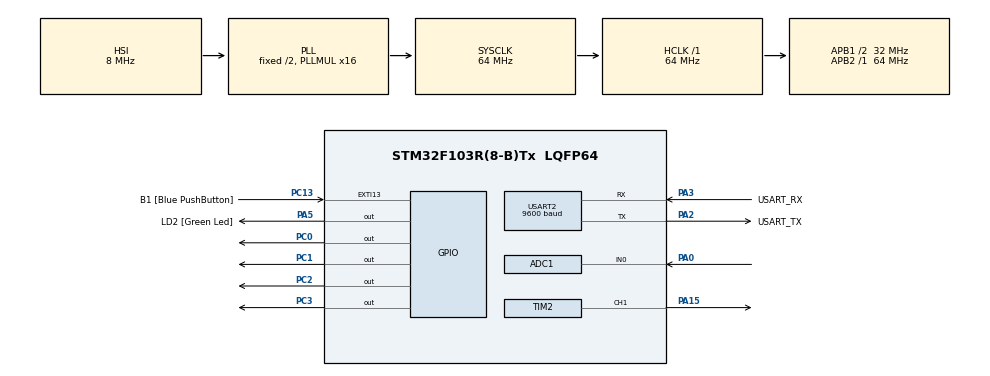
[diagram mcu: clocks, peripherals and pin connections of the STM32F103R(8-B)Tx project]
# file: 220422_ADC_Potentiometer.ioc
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ADC1.Channel-1\#ChannelRegularConversion=ADC_CHANNEL_0
ADC1.NbrOfConversionFlag=1
ADC1.Rank-1\#ChannelRegularConversion=1
ADC1.SamplingTime-1\#ChannelRegularConversion=ADC_SAMPLETIME_239CYCLES_5
ADC1.master=1
Mcu.Family=STM32F1
Mcu.Name=STM32F103R(8-B)Tx
Mcu.Package=LQFP64
NVIC.EXTI15_10_IRQn=true\:0\:0\:false\:false\:true\:true\:true\:true
NVIC.PriorityGroup=NVIC_PRIORITYGROUP_4
NVIC.TIM2_IRQn=true\:0\:0\:false\:false\:true\:true\:true\:true
PA0-WKUP.Signal=ADCx_IN0
PA13.GPIO_Label=TMS
PA13.Mode=Serial_Wire
PA13.Signal=SYS_JTMS-SWDIO
PA14.GPIO_Label=TCK
PA14.Mode=Serial_Wire
PA14.Signal=SYS_JTCK-SWCLK
PA15.Signal=S_TIM2_CH1_ETR
PA2.GPIO_Label=USART_TX
PA2.GPIO_Mode=GPIO_MODE_AF_PP
PA2.GPIO_PuPd=GPIO_NOPULL
PA2.GPIO_Speed=GPIO_SPEED_FREQ_LOW
PA2.Mode=Asynchronous
PA2.Signal=USART2_TX
PA3.GPIO_Label=USART_RX
PA3.GPIO_Mode=GPIO_MODE_AF_PP
PA3.GPIO_PuPd=GPIO_NOPULL
PA3.GPIO_Speed=GPIO_SPEED_FREQ_LOW
PA3.Mode=Asynchronous
PA3.Signal=USART2_RX
PA5.GPIO_Label=LD2 [Green Led]
PA5.GPIO_ModeDefaultOutputPP=GPIO_MODE_OUTPUT_PP
PA5.GPIO_PuPd=GPIO_NOPULL
PA5.GPIO_Speed=GPIO_SPEED_FREQ_LOW
PA5.Signal=GPIO_Output
PB3.GPIO_Label=SWO
PB3.Signal=SYS_JTDO-TRACESWO
PC0.Signal=GPIO_Output
PC1.Signal=GPIO_Output
PC13-TAMPER-RTC.GPIO_Label=B1 [Blue PushButton]
PC13-TAMPER-RTC.GPIO_PuPd=GPIO_NOPULL
PC13-TAMPER-RTC.Signal=GPXTI13
PC14-OSC32_IN.Mode=LSE-External-Oscillator
PC14-OSC32_IN.Signal=RCC_OSC32_IN
PC15-OSC32_OUT.Mode=LSE-External-Oscillator
PC15-OSC32_OUT.Signal=RCC_OSC32_OUT
PC2.Signal=GPIO_Output
PC3.Signal=GPIO_Output
PD0-OSC_IN.Mode=HSE-External-Clock-Source
PD0-OSC_IN.Signal=RCC_OSC_IN
PD1-OSC_OUT.Mode=HSE-External-Clock-Source
PD1-OSC_OUT.Signal=RCC_OSC_OUT
ProjectManager.HeapSize=0x200
ProjectManager.StackSize=0x400
ProjectManager.TargetToolchain=STM32CubeIDE
RCC.ADCPresc=RCC_ADCPCLK2_DIV8
RCC.AHBFreq_Value=64000000
RCC.APB1CLKDivider=RCC_HCLK_DIV2
RCC.APB1Freq_Value=32000000
RCC.APB1TimFreq_Value=64000000
RCC.APB2Freq_Value=64000000
RCC.APB2TimFreq_Value=64000000
RCC.HCLKFreq_Value=64000000
RCC.PLLMUL=RCC_PLL_MUL16
RCC.RTCClockSelection=RCC_RTCCLKSOURCE_LSE
RCC.SYSCLKFreq_VALUE=64000000
RCC.SYSCLKSource=RCC_SYSCLKSOURCE_PLLCLK
RCC.USBFreq_Value=64000000
SH.ADCx_IN0.0=ADC1_IN0,IN0
SH.S_TIM2_CH1_ETR.0=TIM2_CH1,PWM Generation1 CH1
TIM2.Channel-PWM\ Generation1\ CH1=TIM_CHANNEL_1
TIM2.Channel-PWM\ Generation2\ No\ Output=TIM_CHANNEL_2
TIM2.Period=1000-1
TIM2.Prescaler=640-1
TIM2.Pulse-PWM\ Generation1\ CH1=1000-1
TIM2.Pulse-PWM\ Generation2\ No\ Output=1000-1
USART2.BaudRate=9600
USART2.VirtualMode=VM_ASYNC
VP_TIM2_VS_ClockSourceINT.Mode=Internal
VP_TIM2_VS_no_output2.Mode=PWM Generation2 No Output
board=NUCLEO-F103RB

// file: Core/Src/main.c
/* USER CODE BEGIN Header */
/**
  ******************************************************************************
  * @file           : main.c
  * @brief          : Main program body
  ******************************************************************************
  * @attention
  *
  * Copyright (c) 2022 STMicroelectronics.
  * All rights reserved.
  *
  * This software is licensed under terms that can be found in the LICENSE file
  * in the root directory of this software component.
  * If no LICENSE file comes with this software, it is provided AS-IS.
  *
  ******************************************************************************
  */
/* USER CODE END Header */
#include "main.h"

 ADC_HandleTypeDef hadc1;

TIM_HandleTypeDef htim2;

UART_HandleTypeDef huart2;

/* USER CODE BEGIN PV */
uint32_t adc_val = 0;
uint32_t delay_time = 0;
/* USER CODE END PV */

void SystemClock_Config(void);
static void MX_GPIO_Init(void);
static void MX_USART2_UART_Init(void);
static void MX_ADC1_Init(void);
static void MX_TIM2_Init(void);
/* USER CODE BEGIN PFP */
#ifdef __GNUC__
/* With GCC, small printf (option LD Linker->Libraries->Small printf
   set to 'Yes') calls __io_putchar() */
#define PUTCHAR_PROTOTYPE int __io_putchar(int ch)
#else
#define PUTCHAR_PROTOTYPE int fputc(int ch, FILE *f)
#endif /* __GNUC__ */
PUTCHAR_PROTOTYPE
{
  /* Place your implementation of fputc here */
  /* e.g. write a character to the USART1 and Loop until the end of transmission */
  HAL_UART_Transmit(&huart2, (uint8_t *)&ch, 1, 0xFFFF);

  return ch;
}
/* USER CODE END PFP */

int main(void)
{

  /* MCU Configuration--------------------------------------------------------*/

  /* Reset of all peripherals, Initializes the Flash interface and the Systick. */
  HAL_Init();

  /* Configure the system clock */
  SystemClock_Config();

  /* Initialize all configured peripherals */
  MX_GPIO_Init();
  MX_USART2_UART_Init();
  MX_ADC1_Init();
  MX_TIM2_Init();
  /* USER CODE BEGIN 2 */
  HAL_TIM_Base_Start_IT(&htim2);
  HAL_TIM_PWM_Start(&htim2, TIM_CHANNEL_1);
  if(HAL_TIM_PWM_Start_IT(&htim2, TIM_CHANNEL_2)!=HAL_OK){
	  Error_Handler();
  }
  /* USER CODE END 2 */

  /* Infinite loop */
  /* USER CODE BEGIN WHILE */
  while (1)
  {
	  int num = 0;

	  HAL_ADC_Start(&hadc1);
	  HAL_ADC_PollForConversion(&hadc1, 10);
	  adc_val = HAL_ADC_GetValue(&hadc1);
	  num = adc_val/4;
	  //HAL_Delay(500);

	  if(num>=1000) num=1000;
	  printf("Potentiometer value : %d\n\r", num);
	  htim2.Instance->CCR1 = num;
	  htim2.Instance->CCR2 = num;

    /* USER CODE END WHILE */

  }
}

void SystemClock_Config(void)
{
  RCC_OscInitTypeDef RCC_OscInitStruct = {0};
  RCC_ClkInitTypeDef RCC_ClkInitStruct = {0};
  RCC_PeriphCLKInitTypeDef PeriphClkInit = {0};

  /** Initializes the RCC Oscillators according to the specified parameters
  * in the RCC_OscInitTypeDef structure.
  */
  RCC_OscInitStruct.OscillatorType = RCC_OSCILLATORTYPE_HSI;
  RCC_OscInitStruct.HSIState = RCC_HSI_ON;
  RCC_OscInitStruct.HSICalibrationValue = RCC_HSICALIBRATION_DEFAULT;
  RCC_OscInitStruct.PLL.PLLState = RCC_PLL_ON;
  RCC_OscInitStruct.PLL.PLLSource = RCC_PLLSOURCE_HSI_DIV2;
  RCC_OscInitStruct.PLL.PLLMUL = RCC_PLL_MUL16;
  if (HAL_RCC_OscConfig(&RCC_OscInitStruct) != HAL_OK)
  {
    Error_Handler();
  }

  /** Initializes the CPU, AHB and APB buses clocks
  */
  RCC_ClkInitStruct.ClockType = RCC_CLOCKTYPE_HCLK|RCC_CLOCKTYPE_SYSCLK
                              |RCC_CLOCKTYPE_PCLK1|RCC_CLOCKTYPE_PCLK2;
  RCC_ClkInitStruct.SYSCLKSource = RCC_SYSCLKSOURCE_PLLCLK;
  RCC_ClkInitStruct.AHBCLKDivider = RCC_SYSCLK_DIV1;
  RCC_ClkInitStruct.APB1CLKDivider = RCC_HCLK_DIV2;
  RCC_ClkInitStruct.APB2CLKDivider = RCC_HCLK_DIV1;

  if (HAL_RCC_ClockConfig(&RCC_ClkInitStruct, FLASH_LATENCY_2) != HAL_OK)
  {
    Error_Handler();
  }
  PeriphClkInit.PeriphClockSelection = RCC_PERIPHCLK_ADC;
  PeriphClkInit.AdcClockSelection = RCC_ADCPCLK2_DIV8;
  if (HAL_RCCEx_PeriphCLKConfig(&PeriphClkInit) != HAL_OK)
  {
    Error_Handler();
  }
}

static void MX_ADC1_Init(void)
{

  ADC_ChannelConfTypeDef sConfig = {0};

  /** Common config
  */
  hadc1.Instance = ADC1;
  hadc1.Init.ScanConvMode = ADC_SCAN_DISABLE;
  hadc1.Init.ContinuousConvMode = DISABLE;
  hadc1.Init.DiscontinuousConvMode = DISABLE;
  hadc1.Init.ExternalTrigConv = ADC_SOFTWARE_START;
  hadc1.Init.DataAlign = ADC_DATAALIGN_RIGHT;
  hadc1.Init.NbrOfConversion = 1;
  if (HAL_ADC_Init(&hadc1) != HAL_OK)
  {
    Error_Handler();
  }

  /** Configure Regular Channel
  */
  sConfig.Channel = ADC_CHANNEL_0;
  sConfig.Rank = ADC_REGULAR_RANK_1;
  sConfig.SamplingTime = ADC_SAMPLETIME_239CYCLES_5;
  if (HAL_ADC_ConfigChannel(&hadc1, &sConfig) != HAL_OK)
  {
    Error_Handler();
  }

}

static void MX_TIM2_Init(void)
{

  TIM_ClockConfigTypeDef sClockSourceConfig = {0};
  TIM_MasterConfigTypeDef sMasterConfig = {0};
  TIM_OC_InitTypeDef sConfigOC = {0};

  htim2.Instance = TIM2;
  htim2.Init.Prescaler = 640-1;
  htim2.Init.CounterMode = TIM_COUNTERMODE_UP;
  htim2.Init.Period = 1000-1;
  htim2.Init.ClockDivision = TIM_CLOCKDIVISION_DIV1;
  htim2.Init.AutoReloadPreload = TIM_AUTORELOAD_PRELOAD_DISABLE;
  if (HAL_TIM_Base_Init(&htim2) != HAL_OK)
  {
    Error_Handler();
  }
  sClockSourceConfig.ClockSource = TIM_CLOCKSOURCE_INTERNAL;
  if (HAL_TIM_ConfigClockSource(&htim2, &sClockSourceConfig) != HAL_OK)
  {
    Error_Handler();
  }
  if (HAL_TIM_PWM_Init(&htim2) != HAL_OK)
  {
    Error_Handler();
  }
  sMasterConfig.MasterOutputTrigger = TIM_TRGO_RESET;
  sMasterConfig.MasterSlaveMode = TIM_MASTERSLAVEMODE_DISABLE;
  if (HAL_TIMEx_MasterConfigSynchronization(&htim2, &sMasterConfig) != HAL_OK)
  {
    Error_Handler();
  }
  sConfigOC.OCMode = TIM_OCMODE_PWM1;
  sConfigOC.Pulse = 1000-1;
  sConfigOC.OCPolarity = TIM_OCPOLARITY_HIGH;
  sConfigOC.OCFastMode = TIM_OCFAST_DISABLE;
  if (HAL_TIM_PWM_ConfigChannel(&htim2, &sConfigOC, TIM_CHANNEL_1) != HAL_OK)
  {
    Error_Handler();
  }
  if (HAL_TIM_PWM_ConfigChannel(&htim2, &sConfigOC, TIM_CHANNEL_2) != HAL_OK)
  {
    Error_Handler();
  }
  HAL_TIM_MspPostInit(&htim2);

}

static void MX_USART2_UART_Init(void)
{

  huart2.Instance = USART2;
  huart2.Init.BaudRate = 9600;
  huart2.Init.WordLength = UART_WORDLENGTH_8B;
  huart2.Init.StopBits = UART_STOPBITS_1;
  huart2.Init.Parity = UART_PARITY_NONE;
  huart2.Init.Mode = UART_MODE_TX_RX;
  huart2.Init.HwFlowCtl = UART_HWCONTROL_NONE;
  huart2.Init.OverSampling = UART_OVERSAMPLING_16;
  if (HAL_UART_Init(&huart2) != HAL_OK)
  {
    Error_Handler();
  }

}

static void MX_GPIO_Init(void)
{
  GPIO_InitTypeDef GPIO_InitStruct = {0};

  /* GPIO Ports Clock Enable */
  __HAL_RCC_GPIOC_CLK_ENABLE();
  __HAL_RCC_GPIOD_CLK_ENABLE();
  __HAL_RCC_GPIOA_CLK_ENABLE();
  __HAL_RCC_GPIOB_CLK_ENABLE();

  /*Configure GPIO pin Output Level */
  HAL_GPIO_WritePin(GPIOC, GPIO_PIN_0|GPIO_PIN_1|GPIO_PIN_2|GPIO_PIN_3, GPIO_PIN_RESET);

  /*Configure GPIO pin Output Level */
  HAL_GPIO_WritePin(LD2_GPIO_Port, LD2_Pin, GPIO_PIN_RESET);

  /*Configure GPIO pin : B1_Pin */
  GPIO_InitStruct.Pin = B1_Pin;
  GPIO_InitStruct.Mode = GPIO_MODE_IT_RISING;
  GPIO_InitStruct.Pull = GPIO_NOPULL;
  HAL_GPIO_Init(B1_GPIO_Port, &GPIO_InitStruct);

  /*Configure GPIO pins : PC0 PC1 PC2 PC3 */
  GPIO_InitStruct.Pin = GPIO_PIN_0|GPIO_PIN_1|GPIO_PIN_2|GPIO_PIN_3;
  GPIO_InitStruct.Mode = GPIO_MODE_OUTPUT_PP;
  GPIO_InitStruct.Pull = GPIO_NOPULL;
  GPIO_InitStruct.Speed = GPIO_SPEED_FREQ_LOW;
  HAL_GPIO_Init(GPIOC, &GPIO_InitStruct);

  /*Configure GPIO pin : LD2_Pin */
  GPIO_InitStruct.Pin = LD2_Pin;
  GPIO_InitStruct.Mode = GPIO_MODE_OUTPUT_PP;
  GPIO_InitStruct.Pull = GPIO_NOPULL;
  GPIO_InitStruct.Speed = GPIO_SPEED_FREQ_LOW;
  HAL_GPIO_Init(LD2_GPIO_Port, &GPIO_InitStruct);

  /* EXTI interrupt init*/
  HAL_NVIC_SetPriority(EXTI15_10_IRQn, 0, 0);
  HAL_NVIC_EnableIRQ(EXTI15_10_IRQn);

}

/* USER CODE BEGIN 4 */
void HAL_TIM_PeriodElapsedCallback(TIM_HandleTypeDef *htim){
	HAL_GPIO_WritePin(GPIOC, GPIO_PIN_All, GPIO_PIN_SET);
}
void HAL_TIM_PWM_PulseFinishedCallback(TIM_HandleTypeDef *htim){
	HAL_GPIO_WritePin(GPIOC, GPIO_PIN_All, GPIO_PIN_RESET);
}
/* USER CODE END 4 */

void Error_Handler(void)
{
  __disable_irq();
  while (1)
  {
  }
}
